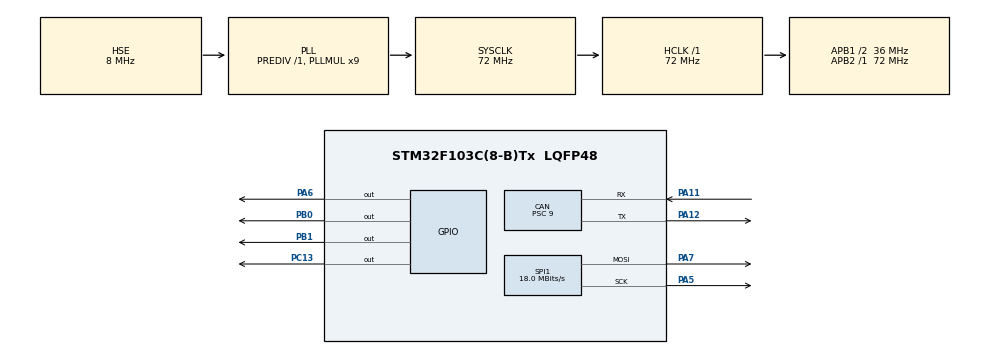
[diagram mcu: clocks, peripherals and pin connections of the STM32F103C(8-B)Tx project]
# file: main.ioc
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CAN.BS1=CAN_BS1_3TQ
CAN.BS2=CAN_BS2_4TQ
CAN.CalculateTimeBit=2000
CAN.CalculateTimeQuantum=250.0
CAN.Prescaler=9
CAN.SJW=CAN_SJW_1TQ
Mcu.Family=STM32F1
Mcu.Name=STM32F103C(8-B)Tx
Mcu.Package=LQFP48
NVIC.PriorityGroup=NVIC_PRIORITYGROUP_4
NVIC.USB_LP_CAN1_RX0_IRQn=true\:0\:0\:false\:false\:true\:true\:true
PA11.Mode=Master
PA11.Signal=CAN_RX
PA12.Mode=Master
PA12.Signal=CAN_TX
PA13.Mode=Serial_Wire
PA13.Signal=SYS_JTMS-SWDIO
PA14.Mode=Serial_Wire
PA14.Signal=SYS_JTCK-SWCLK
PA5.Mode=TX_Only_Simplex_Unidirect_Master
PA5.Signal=SPI1_SCK
PA6.Signal=GPIO_Output
PA7.Mode=TX_Only_Simplex_Unidirect_Master
PA7.Signal=SPI1_MOSI
PB0.GPIO_Speed=GPIO_SPEED_FREQ_HIGH
PB0.Signal=GPIO_Output
PB1.GPIO_Speed=GPIO_SPEED_FREQ_HIGH
PB1.Signal=GPIO_Output
PC13-TAMPER-RTC.Signal=GPIO_Output
PD0-OSC_IN.Mode=HSE-External-Oscillator
PD0-OSC_IN.Signal=RCC_OSC_IN
PD1-OSC_OUT.Mode=HSE-External-Oscillator
PD1-OSC_OUT.Signal=RCC_OSC_OUT
ProjectManager.HeapSize=0x200
ProjectManager.StackSize=0x400
ProjectManager.TargetToolchain=Makefile
RCC.ADCPresc=RCC_ADCPCLK2_DIV6
RCC.AHBFreq_Value=72000000
RCC.APB1CLKDivider=RCC_HCLK_DIV2
RCC.APB1Freq_Value=36000000
RCC.APB1TimFreq_Value=72000000
RCC.APB2Freq_Value=72000000
RCC.APB2TimFreq_Value=72000000
RCC.EnbaleCSS=true
RCC.HCLKFreq_Value=72000000
RCC.PLLMUL=RCC_PLL_MUL9
RCC.PLLSourceVirtual=RCC_PLLSOURCE_HSE
RCC.SYSCLKFreq_VALUE=72000000
RCC.SYSCLKSource=RCC_SYSCLKSOURCE_PLLCLK
RCC.USBFreq_Value=72000000
SPI1.BaudRatePrescaler=SPI_BAUDRATEPRESCALER_4
SPI1.CalculateBaudRate=18.0 MBits/s
SPI1.Direction=SPI_DIRECTION_2LINES
SPI1.Mode=SPI_MODE_MASTER
SPI1.VirtualType=VM_MASTER
board=custom

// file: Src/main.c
/* USER CODE BEGIN Header */
/**
  ******************************************************************************
  * @file           : main.c
  * @brief          : Main program body
  ******************************************************************************
  * @attention
  *
  * <h2><center>&copy; Copyright (c) 2020 STMicroelectronics.
  * All rights reserved.</center></h2>
  *
  * This software component is licensed by ST under BSD 3-Clause license,
  * the "License"; You may not use this file except in compliance with the
  * License. You may obtain a copy of the License at:
  *                        opensource.org/licenses/BSD-3-Clause
  *
  ******************************************************************************
  */
/* USER CODE END Header */
#include "main.h"
#include "can.h"
#include "spi.h"
#include "gpio.h"

/* USER CODE BEGIN Includes */
#include "oled.h"
/* USER CODE END Includes */

void SystemClock_Config(void);

/* USER CODE BEGIN 0 */
CAN_RxHeaderTypeDef rxHeader;                //CAN Bus Transmit Header
CAN_TxHeaderTypeDef txHeader;                //CAN Bus Receive Header
uint8_t canRX[8] = {0, 0, 0, 0, 0, 0, 0, 0}; //CAN Bus Receive Buffer
CAN_FilterTypeDef canfil;                    //CAN Bus Filter
uint32_t canMailbox;                         //CAN Bus Mail box variable
void HAL_CAN_RxFifo0MsgPendingCallback(CAN_HandleTypeDef *hcan1)
{
  HAL_CAN_GetRxMessage(hcan1, CAN_RX_FIFO0, &rxHeader, canRX); //Receive CAN bus message to canRX buffer
  HAL_GPIO_TogglePin(GPIOC, GPIO_PIN_13);                      // toggle PA3 LED
}

void wait_and_clear()
{
  HAL_GPIO_TogglePin(GPIOC, GPIO_PIN_13);
  HAL_Delay(1000);
  // clear display
  UCM_OLED_Draw_Frame(0, 0, 96, 64, COLOR_BLACK, COLOR_BLACK);
  HAL_Delay(500);
}
/* USER CODE END 0 */

int main(void)
{

  /* MCU Configuration--------------------------------------------------------*/

  /* Reset of all peripherals, Initializes the Flash interface and the Systick. */
  HAL_Init();

  /* Configure the system clock */
  SystemClock_Config();

  /* Initialize all configured peripherals */
  MX_GPIO_Init();
  MX_CAN_Init();
  MX_SPI1_Init();

  /* Infinite loop */
  /* USER CODE BEGIN WHILE */

  // canfil.FilterBank = 0;
  // canfil.FilterMode = CAN_FILTERMODE_IDMASK;
  // canfil.FilterFIFOAssignment = CAN_RX_FIFO0;
  // canfil.FilterIdHigh = 0;
  // canfil.FilterIdLow = 0;
  // canfil.FilterMaskIdHigh = 0;
  // canfil.FilterMaskIdLow = 0;
  // canfil.FilterScale = CAN_FILTERSCALE_32BIT;
  // canfil.FilterActivation = ENABLE;
  // canfil.SlaveStartFilterBank = 14;

  // txHeader.DLC = 8; // Number of bites to be transmitted max- 8
  // txHeader.IDE = CAN_ID_STD;
  // txHeader.RTR = CAN_RTR_DATA;
  // txHeader.StdId = 0x030;
  // txHeader.ExtId = 0x02;
  // txHeader.TransmitGlobalTime = DISABLE;

  // HAL_CAN_ConfigFilter(&hcan, &canfil);                             //Initialize CAN Filter
  // HAL_CAN_Start(&hcan);                                             //Initialize CAN Bus
  // HAL_CAN_ActivateNotification(&hcan, CAN_IT_RX_FIFO0_MSG_PENDING); // Initi
  // HAL_Delay(1000);
  UCM_OLED_Init();
  while (1)
  {
    UCM_OLED_Draw();
  }
  /* USER CODE END WHILE */

}

void SystemClock_Config(void)
{
  RCC_OscInitTypeDef RCC_OscInitStruct = {0};
  RCC_ClkInitTypeDef RCC_ClkInitStruct = {0};

  /** Initializes the RCC Oscillators according to the specified parameters
  * in the RCC_OscInitTypeDef structure.
  */
  RCC_OscInitStruct.OscillatorType = RCC_OSCILLATORTYPE_HSE;
  RCC_OscInitStruct.HSEState = RCC_HSE_ON;
  RCC_OscInitStruct.HSEPredivValue = RCC_HSE_PREDIV_DIV1;
  RCC_OscInitStruct.HSIState = RCC_HSI_ON;
  RCC_OscInitStruct.PLL.PLLState = RCC_PLL_ON;
  RCC_OscInitStruct.PLL.PLLSource = RCC_PLLSOURCE_HSE;
  RCC_OscInitStruct.PLL.PLLMUL = RCC_PLL_MUL9;
  if (HAL_RCC_OscConfig(&RCC_OscInitStruct) != HAL_OK)
  {
    Error_Handler();
  }
  /** Initializes the CPU, AHB and APB buses clocks
  */
  RCC_ClkInitStruct.ClockType = RCC_CLOCKTYPE_HCLK | RCC_CLOCKTYPE_SYSCLK | RCC_CLOCKTYPE_PCLK1 | RCC_CLOCKTYPE_PCLK2;
  RCC_ClkInitStruct.SYSCLKSource = RCC_SYSCLKSOURCE_PLLCLK;
  RCC_ClkInitStruct.AHBCLKDivider = RCC_SYSCLK_DIV1;
  RCC_ClkInitStruct.APB1CLKDivider = RCC_HCLK_DIV2;
  RCC_ClkInitStruct.APB2CLKDivider = RCC_HCLK_DIV1;

  if (HAL_RCC_ClockConfig(&RCC_ClkInitStruct, FLASH_LATENCY_2) != HAL_OK)
  {
    Error_Handler();
  }
  /** Enables the Clock Security System
  */
  HAL_RCC_EnableCSS();
}

void Error_Handler(void)
{
}

/************************ (C) COPYRIGHT STMicroelectronics *****END OF FILE****/
